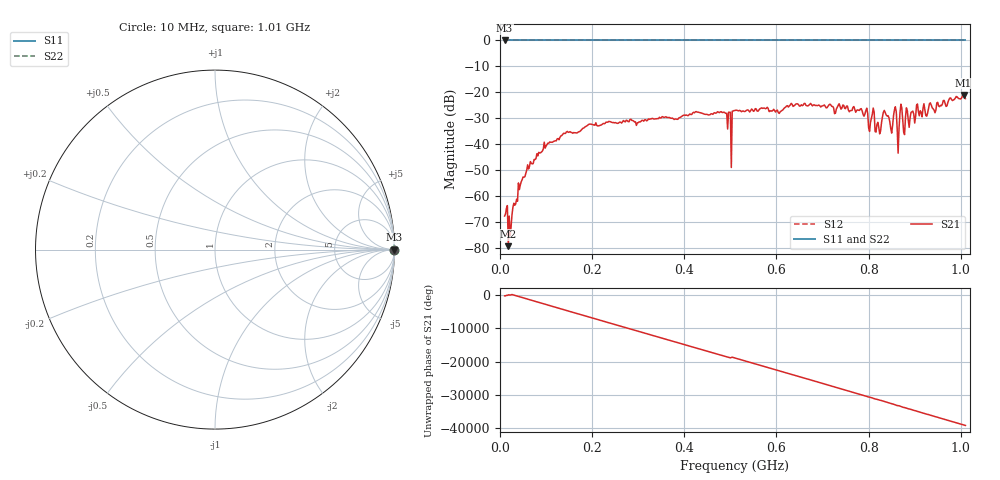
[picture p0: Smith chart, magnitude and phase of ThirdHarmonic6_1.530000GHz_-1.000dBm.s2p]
! 8/16/2025 6:06:24 PM
! C:\ANRITSUVNA\TEMP\TEMP.S2P
! CHANNEL.1
! TR.MEASUREMENT
! RAW.DATA
! RF.CORRECTION.OFF
! AVERAGING.OFF
! IF.BANDWIDTH: 5KHZ
! SWEEPTYPE:  FREQ.SWEEP(Linear)
! Reference Plane Port Info
! PORT:  PORT1  PORT2
! DISTANCE:  0  m  0  m
! TIME:  0  s  0  s
! PHASE.OFFSET:  0  deg.  0  deg.
! LOSS:  0  dB  0  dB
! REF.LOSS:  0  dB  0  dB
! REF.FREQ:  0  Hz  0  Hz
! Power Info
! POWER:  -20  dBm  -20  dBm
! EFF.POWER:  -20  dBm  -20  dBm
! SOURCE.ATTEN:  0  dB  0  dB
! TEST.ATTEN:  0  dB  0  dB
# GHZ S RI R 50.0
! FREQ.GHZ  S11RE  S11IM  S21RE  S21IM  S12RE  S12IM  S22RE  S22IM
!; PortSelection: Port_12
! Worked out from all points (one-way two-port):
!   501 points, 10 MHz to 1.01 GHz, reference 50 ohm
!   highest |S21| = -21.06 dB at 1.006 GHz (marker M1); lowest = -79.4 dB at 18 MHz (marker M2)
!   lowest |S11| = 0.0 dB at 10 MHz (marker M3)
!   |S11| at or under -10 dB: nowhere
!   |S22| runs from 0.0 to 0.0 dB; largest |S21 - S12| = 1.1
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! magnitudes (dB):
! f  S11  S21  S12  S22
! 10 MHz  0.0  -67.8  0.0  0.0
! 18 MHz  0.0  -79.4  0.0  0.0
! 22 MHz  0.0  -75.4  0.0  0.0
! 44 MHz  0.0  -55.9  0.0  0.0
! 64 MHz  0.0  -48.7  0.0  0.0
! 100 MHz  0.0  -40.8  0.0  0.0
! 178 MHz  0.0  -34.2  0.0  0.0
! 344 MHz  0.0  -30.2  0.0  0.0
! 482 MHz  0.0  -27.8  0.0  0.0
! 496 MHz  0.0  -27.7  0.0  0.0
! 498 MHz  0.0  -27.7  0.0  0.0
! 510 MHz  0.0  -27.0  0.0  0.0
! 678 MHz  0.0  -25.3  0.0  0.0
! 782 MHz  0.0  -26.5  0.0  0.0
! 820 MHz  0.0  -31.6  0.0  0.0
! 834 MHz  0.0  -27.0  0.0  0.0
! 844 MHz  0.0  -29.8  0.0  0.0
! 856 MHz  0.0  -26.8  0.0  0.0
! 864 MHz  0.0  -43.5  0.0  0.0
! 870 MHz  0.0  -24.6  0.0  0.0
! 1.006 GHz  0.0  -21.1  0.0  0.0
! 1.01 GHz  0.0  -22.5  0.0  0.0
